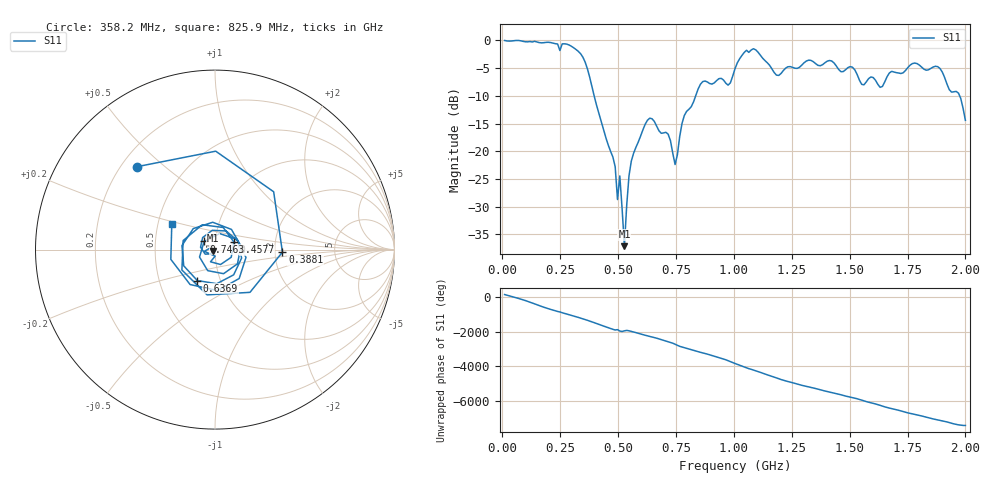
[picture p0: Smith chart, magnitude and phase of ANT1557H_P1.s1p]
!Created with skrf (http://scikit-rf.org).
# Hz S RI R 50.0
!freq ReS11 ImS11
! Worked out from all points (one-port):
!   201 points, 10 MHz to 2 GHz, reference 50 ohm
!   lowest |S11| = -37.1 dB at 527.4 MHz (marker M1), VSWR 1.03, Z = 48.7 - j0.518 ohm
!   |S11| at or under -10 dB: 396.7 MHz to 835.1 MHz (438.4 MHz wide, 71.2 % of centre); 1.975 GHz to end of sweep
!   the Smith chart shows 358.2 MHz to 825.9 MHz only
!   S11 on the Smith chart (normalised r, x): 358.2 MHz: 0.26, +0.41; 388.1 MHz: 2.20, -0.07; 457.8 MHz: 1.23, +0.10; 636.9 MHz: 0.78, -0.28; 746.3 MHz: 0.88, +0.08; 825.9 MHz: 0.59, +0.18
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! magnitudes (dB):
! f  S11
! 10 MHz  0.0
! 258.8 MHz  -0.6
! 358.2 MHz  -4.0
! 388.1 MHz  -8.5
! 457.8 MHz  -18.9
! 487.6 MHz  -22.8
! 497.6 MHz  -28.7
! 507.5 MHz  -24.5
! 527.4 MHz  -37.1
! 547.3 MHz  -24.4
! 557.2 MHz  -21.8
! 636.9 MHz  -14.0
! 716.5 MHz  -16.9
! 746.3 MHz  -22.4
! 756.2 MHz  -20.6
! 786.1 MHz  -13.6
! 825.9 MHz  -11.1
! 865.7 MHz  -7.4
! 1.005 GHz  -5.1
! 1.085 GHz  -1.5
! 1.184 GHz  -6.3
! 1.254 GHz  -4.9
! 1.502 GHz  -4.7
! 1.632 GHz  -8.5
! 1.751 GHz  -4.9
! 1.891 GHz  -5.1
! 1.97 GHz  -9.5
! 2 GHz  -14.4
